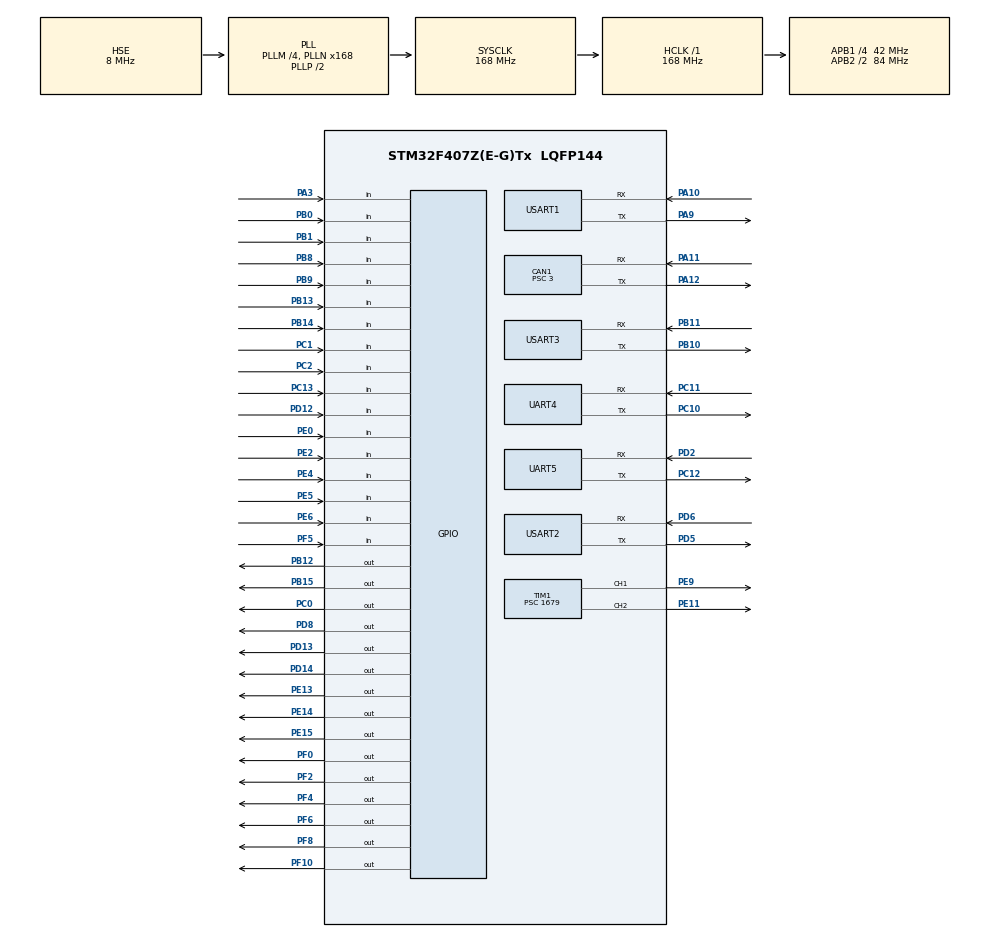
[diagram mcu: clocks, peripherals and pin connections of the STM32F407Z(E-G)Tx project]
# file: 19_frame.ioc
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CAN1.ABOM=ENABLE
CAN1.BS1=CAN_BS1_9TQ
CAN1.BS2=CAN_BS2_4TQ
CAN1.CalculateTimeBit=1000
CAN1.CalculateTimeQuantum=71.42857142857143
CAN1.Prescaler=3
CAN1.TXFP=ENABLE
Dma.Request0=USART3_RX
Dma.Request1=USART3_TX
Dma.Request2=USART1_TX
Dma.Request3=USART1_RX
Dma.USART1_RX.3.Direction=DMA_PERIPH_TO_MEMORY
Dma.USART1_RX.3.FIFOMode=DMA_FIFOMODE_DISABLE
Dma.USART1_RX.3.Instance=DMA2_Stream2
Dma.USART1_RX.3.MemDataAlignment=DMA_MDATAALIGN_BYTE
Dma.USART1_RX.3.MemInc=DMA_MINC_ENABLE
Dma.USART1_RX.3.Mode=DMA_CIRCULAR
Dma.USART1_RX.3.PeriphDataAlignment=DMA_PDATAALIGN_BYTE
Dma.USART1_RX.3.PeriphInc=DMA_PINC_DISABLE
Dma.USART1_RX.3.Priority=DMA_PRIORITY_LOW
Dma.USART1_TX.2.Direction=DMA_MEMORY_TO_PERIPH
Dma.USART1_TX.2.FIFOMode=DMA_FIFOMODE_DISABLE
Dma.USART1_TX.2.Instance=DMA2_Stream7
Dma.USART1_TX.2.MemDataAlignment=DMA_MDATAALIGN_BYTE
Dma.USART1_TX.2.MemInc=DMA_MINC_ENABLE
Dma.USART1_TX.2.Mode=DMA_NORMAL
Dma.USART1_TX.2.PeriphDataAlignment=DMA_PDATAALIGN_BYTE
Dma.USART1_TX.2.PeriphInc=DMA_PINC_DISABLE
Dma.USART1_TX.2.Priority=DMA_PRIORITY_LOW
Dma.USART3_RX.0.Direction=DMA_PERIPH_TO_MEMORY
Dma.USART3_RX.0.FIFOMode=DMA_FIFOMODE_DISABLE
Dma.USART3_RX.0.Instance=DMA1_Stream1
Dma.USART3_RX.0.MemDataAlignment=DMA_MDATAALIGN_BYTE
Dma.USART3_RX.0.MemInc=DMA_MINC_ENABLE
Dma.USART3_RX.0.Mode=DMA_CIRCULAR
Dma.USART3_RX.0.PeriphDataAlignment=DMA_PDATAALIGN_BYTE
Dma.USART3_RX.0.PeriphInc=DMA_PINC_DISABLE
Dma.USART3_RX.0.Priority=DMA_PRIORITY_LOW
Dma.USART3_TX.1.Direction=DMA_MEMORY_TO_PERIPH
Dma.USART3_TX.1.FIFOMode=DMA_FIFOMODE_DISABLE
Dma.USART3_TX.1.Instance=DMA1_Stream3
Dma.USART3_TX.1.MemDataAlignment=DMA_MDATAALIGN_BYTE
Dma.USART3_TX.1.MemInc=DMA_MINC_ENABLE
Dma.USART3_TX.1.Mode=DMA_NORMAL
Dma.USART3_TX.1.PeriphDataAlignment=DMA_PDATAALIGN_BYTE
Dma.USART3_TX.1.PeriphInc=DMA_PINC_DISABLE
Dma.USART3_TX.1.Priority=DMA_PRIORITY_LOW
Mcu.Family=STM32F4
Mcu.Name=STM32F407Z(E-G)Tx
Mcu.Package=LQFP144
NVIC.CAN1_RX0_IRQn=true\:1\:0\:true\:true\:true\:1\:true\:true
NVIC.DMA1_Stream1_IRQn=true\:0\:0\:false\:false\:true\:false\:true
NVIC.DMA1_Stream3_IRQn=true\:0\:0\:false\:false\:true\:false\:true
NVIC.DMA2_Stream2_IRQn=true\:0\:0\:false\:false\:true\:false\:true
NVIC.DMA2_Stream7_IRQn=true\:0\:0\:false\:false\:true\:false\:true
NVIC.PriorityGroup=NVIC_PRIORITYGROUP_4
NVIC.USART1_IRQn=true\:1\:0\:true\:true\:true\:2\:true\:true
NVIC.USART2_IRQn=true\:1\:0\:true\:true\:true\:3\:true\:true
NVIC.USART3_IRQn=true\:1\:0\:true\:true\:true\:4\:true\:true
PA10.Mode=Asynchronous
PA10.Signal=USART1_RX
PA11.Mode=Master
PA11.Signal=CAN1_RX
PA12.Mode=Master
PA12.Signal=CAN1_TX
PA13.Mode=Serial_Wire
PA13.Signal=SYS_JTMS-SWDIO
PA14.Mode=Serial_Wire
PA14.Signal=SYS_JTCK-SWCLK
PA3.GPIO_PuPd=GPIO_PULLUP
PA3.Signal=GPIO_Input
PA9.Mode=Asynchronous
PA9.Signal=USART1_TX
PB0.GPIO_PuPd=GPIO_PULLUP
PB0.Signal=GPIO_Input
PB1.GPIO_PuPd=GPIO_PULLUP
PB1.Signal=GPIO_Input
PB10.Mode=Asynchronous
PB10.Signal=USART3_TX
PB11.Mode=Asynchronous
PB11.Signal=USART3_RX
PB12.GPIO_PuPd=GPIO_PULLDOWN
PB12.GPIO_Speed=GPIO_SPEED_FREQ_VERY_HIGH
PB12.PinState=GPIO_PIN_SET
PB12.Signal=GPIO_Output
PB13.GPIO_PuPd=GPIO_PULLDOWN
PB13.Signal=GPIO_Input
PB14.GPIO_PuPd=GPIO_PULLDOWN
PB14.Signal=GPIO_Input
PB15.GPIO_PuPd=GPIO_PULLDOWN
PB15.GPIO_Speed=GPIO_SPEED_FREQ_VERY_HIGH
PB15.PinState=GPIO_PIN_SET
PB15.Signal=GPIO_Output
PB8.GPIO_PuPd=GPIO_PULLDOWN
PB8.Signal=GPIO_Input
PB9.GPIO_PuPd=GPIO_PULLDOWN
PB9.Signal=GPIO_Input
PC0.GPIO_ModeDefaultOutputPP=GPIO_MODE_OUTPUT_PP
PC0.GPIO_PuPd=GPIO_PULLUP
PC0.GPIO_Speed=GPIO_SPEED_FREQ_HIGH
PC0.PinState=GPIO_PIN_SET
PC0.Signal=GPIO_Output
PC1.GPIO_PuPd=GPIO_PULLDOWN
PC1.Signal=GPIO_Input
PC10.Mode=Asynchronous
PC10.Signal=UART4_TX
PC11.Mode=Asynchronous
PC11.Signal=UART4_RX
PC12.Mode=Asynchronous
PC12.Signal=UART5_TX
PC13-ANTI_TAMP.GPIO_PuPd=GPIO_PULLDOWN
PC13-ANTI_TAMP.Signal=GPIO_Input
PC2.GPIO_PuPd=GPIO_PULLDOWN
PC2.Signal=GPIO_Input
PD12.Signal=GPIO_Input
PD13.GPIO_PuPd=GPIO_PULLUP
PD13.Signal=GPIO_Output
PD14.GPIO_PuPd=GPIO_PULLDOWN
PD14.Signal=GPIO_Output
PD2.Mode=Asynchronous
PD2.Signal=UART5_RX
PD5.Mode=Asynchronous
PD5.Signal=USART2_TX
PD6.Mode=Asynchronous
PD6.Signal=USART2_RX
PD8.Signal=GPIO_Output
PE0.GPIO_PuPd=GPIO_PULLDOWN
PE0.Signal=GPIO_Input
PE11.Signal=S_TIM1_CH2
PE13.GPIO_PuPd=GPIO_PULLDOWN
PE13.GPIO_Speed=GPIO_SPEED_FREQ_VERY_HIGH
PE13.PinState=GPIO_PIN_SET
PE13.Signal=GPIO_Output
PE14.GPIO_PuPd=GPIO_PULLDOWN
PE14.GPIO_Speed=GPIO_SPEED_FREQ_VERY_HIGH
PE14.PinState=GPIO_PIN_SET
PE14.Signal=GPIO_Output
PE15.GPIO_PuPd=GPIO_PULLDOWN
PE15.GPIO_Speed=GPIO_SPEED_FREQ_VERY_HIGH
PE15.PinState=GPIO_PIN_SET
PE15.Signal=GPIO_Output
PE2.GPIO_PuPd=GPIO_PULLDOWN
PE2.Signal=GPIO_Input
PE4.GPIO_PuPd=GPIO_PULLDOWN
PE4.Signal=GPIO_Input
PE5.GPIO_PuPd=GPIO_PULLUP
PE5.Signal=GPIO_Input
PE6.GPIO_PuPd=GPIO_PULLDOWN
PE6.Signal=GPIO_Input
PE9.Signal=S_TIM1_CH1
PF0.GPIO_PuPd=GPIO_PULLDOWN
PF0.GPIO_Speed=GPIO_SPEED_FREQ_HIGH
PF0.Signal=GPIO_Output
PF10.GPIO_PuPd=GPIO_PULLDOWN
PF10.GPIO_Speed=GPIO_SPEED_FREQ_HIGH
PF10.Signal=GPIO_Output
PF2.GPIO_PuPd=GPIO_PULLDOWN
PF2.GPIO_Speed=GPIO_SPEED_FREQ_HIGH
PF2.Signal=GPIO_Output
PF4.GPIO_PuPd=GPIO_PULLDOWN
PF4.GPIO_Speed=GPIO_SPEED_FREQ_HIGH
PF4.Signal=GPIO_Output
PF5.GPIO_PuPd=GPIO_PULLUP
PF5.Signal=GPIO_Input
PF6.GPIO_PuPd=GPIO_PULLDOWN
PF6.GPIO_Speed=GPIO_SPEED_FREQ_HIGH
PF6.Signal=GPIO_Output
PF8.GPIO_PuPd=GPIO_PULLDOWN
PF8.GPIO_Speed=GPIO_SPEED_FREQ_HIGH
PF8.Signal=GPIO_Output
PH0-OSC_IN.Mode=HSE-External-Oscillator
PH0-OSC_IN.Signal=RCC_OSC_IN
PH1-OSC_OUT.Mode=HSE-External-Oscillator
PH1-OSC_OUT.Signal=RCC_OSC_OUT
ProjectManager.HeapSize=0x600
ProjectManager.StackSize=0x1200
ProjectManager.TargetToolchain=EWARM V8
RCC.48MHZClocksFreq_Value=84000000
RCC.AHBFreq_Value=168000000
RCC.APB1CLKDivider=RCC_HCLK_DIV4
RCC.APB1Freq_Value=42000000
RCC.APB1TimFreq_Value=84000000
RCC.APB2CLKDivider=RCC_HCLK_DIV2
RCC.APB2Freq_Value=84000000
RCC.APB2TimFreq_Value=168000000
RCC.CortexFreq_Value=168000000
RCC.HCLKFreq_Value=168000000
RCC.HSE_VALUE=8000000
RCC.HSI_VALUE=16000000
RCC.LSE_VALUE=32768
RCC.PLLM=4
RCC.PLLN=168
RCC.PLLSourceVirtual=RCC_PLLSOURCE_HSE
RCC.SYSCLKFreq_VALUE=168000000
RCC.SYSCLKSource=RCC_SYSCLKSOURCE_PLLCLK
RCC.VCOOutputFreq_Value=336000000
SH.S_TIM1_CH1.0=TIM1_CH1,PWM Generation1 CH1
SH.S_TIM1_CH2.0=TIM1_CH2,PWM Generation2 CH2
TIM1.Channel-PWM\ Generation1\ CH1=TIM_CHANNEL_1
TIM1.Channel-PWM\ Generation2\ CH2=TIM_CHANNEL_2
TIM1.Period=1999
TIM1.Prescaler=1679
TIM1.Pulse-PWM\ Generation1\ CH1=0
TIM1.Pulse-PWM\ Generation2\ CH2=0
TIM3.Period=9999
TIM3.Prescaler=71
UART4.VirtualMode=Asynchronous
UART5.VirtualMode=Asynchronous
USART1.VirtualMode=VM_ASYNC
USART2.VirtualMode=VM_ASYNC
USART3.VirtualMode=VM_ASYNC
VP_TIM3_VS_ClockSourceINT.Mode=Internal
board=MR1_Chassis

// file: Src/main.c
/* USER CODE BEGIN Header */
/**
******************************************************************************
* @file           : main.c
* @brief          : Main program body
******************************************************************************
* @attention
*
* <h2><center>&copy; Copyright (c) 2019 STMicroelectronics.
* All rights reserved.</center></h2>
*
* This software component is licensed by ST under BSD 3-Clause license,
* the "License"; You may not use this file except in compliance with the
* License. You may obtain a copy of the License at:
*                        opensource.org/licenses/BSD-3-Clause
*
******************************************************************************
*/
/* USER CODE END Header */

#include "main.h"
#include "can.h"
#include "dma.h"
#include "tim.h"
#include "usart.h"
#include "gpio.h"

/* USER CODE BEGIN Includes */
#include "simplelib.h"
#include "cmd_func.h"

/* USER CODE END Includes */

void SystemClock_Config(void);
static void MX_NVIC_Init(void);
/* USER CODE BEGIN PFP */
Main_Flag main_flag={
  0,  //main_run_flag
  0,  //chassis_control_flag
  0,  //chassis_handle_flag
  0
};

/* USER CODE END PFP */

/* USER CODE BEGIN 0 */
int print_pos = 0;//用于输出全场定位
/* USER CODE END 0 */

int main(void)
{

  /* MCU Configuration--------------------------------------------------------*/

  /* Reset of all peripherals, Initializes the Flash interface and the Systick. */
  HAL_Init();

  /* Configure the system clock */
  SystemClock_Config();

  /* Initialize all configured peripherals */
  MX_GPIO_Init();
  MX_DMA_Init();
  MX_CAN1_Init();
  MX_USART1_UART_Init();
  MX_USART2_UART_Init();
  MX_USART3_UART_Init();
  MX_UART5_Init();
  MX_UART4_Init();
  MX_TIM3_Init();
  MX_TIM1_Init();
  usart_dma_init();

  /* Initialize interrupts */
  MX_NVIC_Init();
  usart_dma_init();
  /* USER CODE BEGIN 2 */
  can_id_init();
  simplelib_init(&huart3, &hcan1);
  //_HAL_UART_ENABLE_IT(&huart1,UART_IT_IDLE);

  /* USER CODE END 2 */
  chassis_init();
  chassis_status.point_num = 83;//数组个数改变时，需改变point_num
  direct_init(chassis_status.point_num);
  /* Infinite loop */
  /* USER CODE BEGIN WHILE */
  main_flag.main_run_flag = 1;
  main_flag.chassis_control_flag = 0;//五毫秒跑一次

  while (1)
  {
    simplelib_run();

#ifdef CHASSIS
    if(main_flag.chassis_control_flag == 1 && main_flag.chassis_automate_flag == 1)
    {
      chassis_update();
      main_flag.chassis_control_flag = 0;
      if(chassis_status.run_point)
      {
        chassis_go_track();
      }
      if(chassis_status.run_point_test)
      {
        chassis_vector_test();
      }
      if(chassis_status.go_to_point_test_flag == 1)
      {
        go_to_point_for_test(go_to_point_x,go_to_point_y);
      }
      if(chassis_status.run_point == 0 && chassis_status.run_point_test == 0 && chassis_status.go_to_point_test_flag == 0)
      {
        chassis_gostraight(0,0,chassis.angle,0);
      }
    }

    if(main_flag.chassis_handle_flag == 1 && main_flag.chassis_automate_flag == 0)
    {
      chassis_update();
      chassis_handle_control();
    }
    if(print_pos)
    {
      print_pos = 0;
      uprintf("%f\r\n",chassis.angle / PI * 180);
    }
#endif

    /* USER CODE END WHILE */

  }
}

void SystemClock_Config(void)
{
  // RCC_OscInitTypeDef RCC_OscInitStruct = {0};
  // RCC_ClkInitTypeDef RCC_ClkInitStruct = {0};

  RCC_OscInitTypeDef RCC_OscInitStruct;
  RCC_ClkInitTypeDef RCC_ClkInitStruct;

  /** Configure the main internal regulator output voltage
  */
  __HAL_RCC_PWR_CLK_ENABLE();
  __HAL_PWR_VOLTAGESCALING_CONFIG(PWR_REGULATOR_VOLTAGE_SCALE1);
  /** Initializes the CPU, AHB and APB busses clocks
  */
  RCC_OscInitStruct.OscillatorType = RCC_OSCILLATORTYPE_HSE;
  RCC_OscInitStruct.HSEState = RCC_HSE_ON;
  RCC_OscInitStruct.PLL.PLLState = RCC_PLL_ON;
  RCC_OscInitStruct.PLL.PLLSource = RCC_PLLSOURCE_HSE;
  RCC_OscInitStruct.PLL.PLLM = 4;
  RCC_OscInitStruct.PLL.PLLN = 168;
  RCC_OscInitStruct.PLL.PLLP = RCC_PLLP_DIV2;
  RCC_OscInitStruct.PLL.PLLQ = 4;
  if (HAL_RCC_OscConfig(&RCC_OscInitStruct) != HAL_OK)
  {
    Error_Handler();
  }
  /** Initializes the CPU, AHB and APB busses clocks
  */
  RCC_ClkInitStruct.ClockType = RCC_CLOCKTYPE_HCLK|RCC_CLOCKTYPE_SYSCLK
    |RCC_CLOCKTYPE_PCLK1|RCC_CLOCKTYPE_PCLK2;
  RCC_ClkInitStruct.SYSCLKSource = RCC_SYSCLKSOURCE_PLLCLK;
  RCC_ClkInitStruct.AHBCLKDivider = RCC_SYSCLK_DIV1;
  RCC_ClkInitStruct.APB1CLKDivider = RCC_HCLK_DIV4;
  RCC_ClkInitStruct.APB2CLKDivider = RCC_HCLK_DIV2;

  if (HAL_RCC_ClockConfig(&RCC_ClkInitStruct, FLASH_LATENCY_5) != HAL_OK)
  {
    Error_Handler();
  }
  /**Configure the Systick interrupt time
  */
  HAL_SYSTICK_Config(HAL_RCC_GetHCLKFreq()/1000);

  /**Configure the Systick
  */
  HAL_SYSTICK_CLKSourceConfig(SYSTICK_CLKSOURCE_HCLK);

  /* SysTick_IRQn interrupt configuration */
  HAL_NVIC_SetPriority(SysTick_IRQn, 0, 0);
}

/**
* @brief NVIC Configuration.
* @retval None
*/
static void MX_NVIC_Init(void)
{
  /* CAN1_RX0_IRQn interrupt configuration */
  HAL_NVIC_SetPriority(CAN1_RX0_IRQn, 1, 0);
  HAL_NVIC_EnableIRQ(CAN1_RX0_IRQn);
  /* USART1_IRQn interrupt configuration */
  HAL_NVIC_SetPriority(USART1_IRQn, 1, 0);
  HAL_NVIC_EnableIRQ(USART1_IRQn);
  /* USART2_IRQn interrupt configuration */
  HAL_NVIC_SetPriority(USART2_IRQn, 1, 0);
  HAL_NVIC_EnableIRQ(USART2_IRQn);
  /* USART3_IRQn interrupt configuration */
  HAL_NVIC_SetPriority(USART3_IRQn, 1, 0);
  HAL_NVIC_EnableIRQ(USART3_IRQn);
}

void Error_Handler(void)
{
}

/************************ (C) COPYRIGHT STMicroelectronics *****END OF FILE****/
